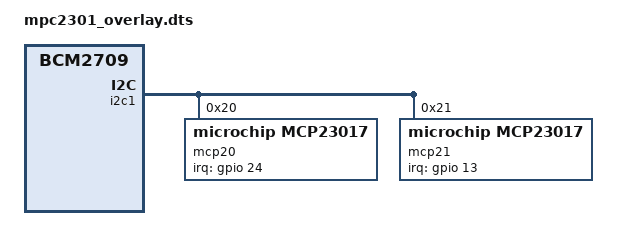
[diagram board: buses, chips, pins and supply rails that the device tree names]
/dts-v1/;
/plugin/;

/ {
compatible = "brcm,bcm2835", "brcm,bcm2708", "brcm,bcm2709";

fragment@0 {
    target = <&i2c1>;
    __overlay__ {
        status = "okay";
    };
};

fragment@1 {
    target = <&gpio>;
    __overlay__ {
        mcp23017_pins: mcp23017_pins {
            brcm,pins = <24>;
            brcm,function = <0>;
        };
    };
};



fragment@2 {
    target = <&i2c1>;
    __overlay__ {
        #address-cells = <1>;
        #size-cells = <0>;

        mcp20:mcp23017@20 {
            compatible = "microchip,mcp23017";
            reg = <0x20>;
            gpio-controller;
            #gpio-cells = <2>;

            interrupt-parent = <&gpio>;
            interrupts = <24 2>;
            interrupt-controller;
            #interrupt-cells=<2>;
            microchip,irq-mirror;

            status = "okay";
        };

    };
};

fragment@3 {
    target = <&i2c1>;
    __overlay__ {
        #address-cells = <1>;
        #size-cells = <0>;

        mcp21:mcp23017@21 {
            compatible = "microchip,mcp23017";
            reg = <0x21>;
            gpio-controller;
            #gpio-cells = <2>;
            interrupt-parent = <&gpio>;
            interrupts = <13 2>;
            interrupt-controller;
            #interrupt-cells=<2>;
            microchip,irq-mirror;

            status = "okay";
        };

    };
};
};
